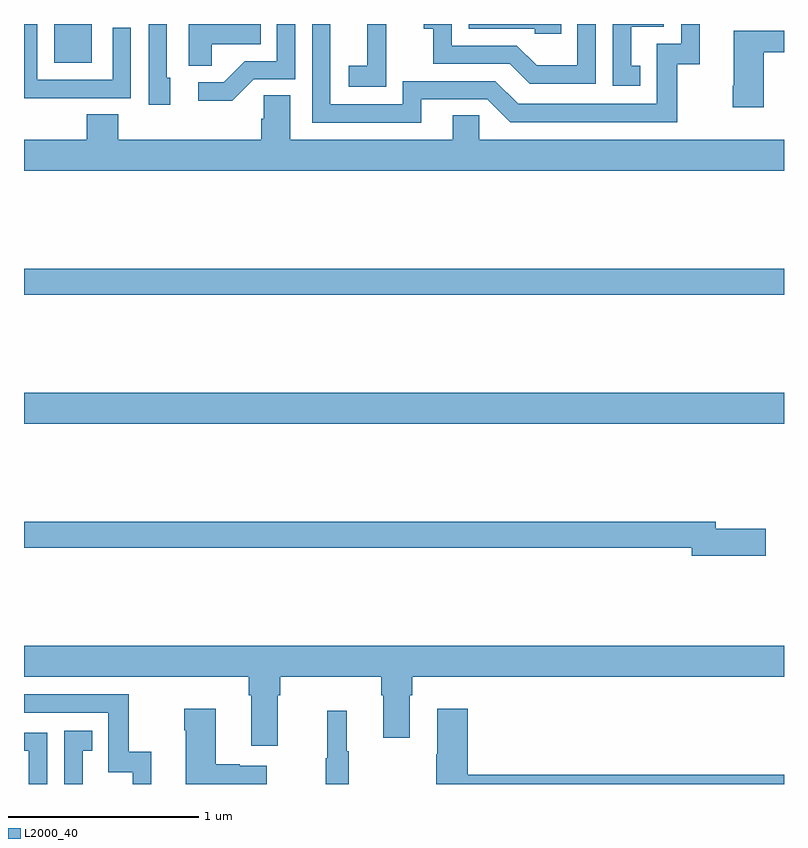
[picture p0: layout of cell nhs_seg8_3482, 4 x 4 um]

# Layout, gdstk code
import gdstk
lib = gdstk.Library(unit=1e-6, precision=1e-09)
def R(c, l, rs):  # rectangles x0, y0, x1, y1
    for r in rs: c.add(gdstk.rectangle(r[:2], r[2:], *l))
def P(c, l, *ps):  # polygons
    for p in ps: c.add(gdstk.Polygon(p, *l))
L2000_40 = (2000, 40)

nhs_seg8_3482 = lib.new_cell('nhs_seg8_3482')
R(nhs_seg8_3482, L2000_40, [(325,1153.796,329,1153.96), (325,1154.476,329,1154.612)])
P(nhs_seg8_3482, L2000_40, [(325.357,1155.9),(325.199,1155.9),(325.199,1155.898),(325.16,1155.898),(325.16,1155.695),(325.357,1155.695)],
  [(328.244,1155.681),(328.195,1155.681),(328.195,1155.885),(328.368,1155.885),(328.368,1155.9),(328.098,1155.9),(328.098,1155.576),(328.244,1155.576)],
  [(327.091,1155.504),(327.438,1155.504),(327.558,1155.384),(328.438,1155.384),(328.438,1155.687),(328.556,1155.687),(328.556,1155.9),(328.458,1155.9),(328.458,1155.795),(328.329,1155.795),(328.329,1155.48),(327.6,1155.48),(327.48,1155.6),(326.994,1155.6),(326.994,1155.477),(326.613,1155.477),(326.613,1155.9),(326.517,1155.9),(326.517,1155.381),(327.091,1155.381)],
  [(325.771,1155.618),(325.752,1155.618),(325.752,1155.9),(325.656,1155.9),(325.656,1155.474),(325.771,1155.474)],
  [(328.008,1155.9),(327.912,1155.9),(327.912,1155.682),(327.698,1155.682),(327.594,1155.786),(327.252,1155.786),(327.252,1155.9),(327.105,1155.9),(327.105,1155.875),(327.154,1155.875),(327.154,1155.69),(327.557,1155.69),(327.662,1155.585),(328.008,1155.585)],
  [(326.907,1155.775),(326.906,1155.775),(326.906,1155.9),(326.807,1155.9),(326.807,1155.679),(326.709,1155.679),(326.709,1155.569),(326.907,1155.569)],
  [(327.827,1155.9),(327.342,1155.9),(327.342,1155.876),(327.687,1155.876),(327.687,1155.849),(327.827,1155.849)],
  [(325.247,1155.51),(325.563,1155.51),(325.563,1155.88),(325.467,1155.88),(325.467,1155.606),(325.071,1155.606),(325.071,1155.9),(325,1155.9),(325,1155.509),(325.247,1155.509)],
  [(326.208,1155.609),(326.427,1155.609),(326.427,1155.9),(326.331,1155.9),(326.331,1155.705),(326.162,1155.705),(326.051,1155.594),(325.917,1155.594),(325.917,1155.497),(326.095,1155.497)],
  [(325.989,1155.794),(326.246,1155.794),(326.246,1155.898),(325.868,1155.898),(325.868,1155.679),(325.989,1155.679)],
  [(328.894,1155.751),(329,1155.751),(329,1155.865),(328.736,1155.865),(328.736,1155.574),(328.729,1155.574),(328.729,1155.462),(328.894,1155.462)],
  [(329,1155.292),(327.396,1155.292),(327.396,1155.419),(327.257,1155.419),(327.257,1155.292),(326.401,1155.292),(326.401,1155.524),(326.262,1155.524),(326.262,1155.401),(326.249,1155.401),(326.249,1155.292),(325.496,1155.292),(325.496,1155.425),(325.331,1155.425),(325.331,1155.292),(325,1155.292),(325,1155.128),(329,1155.128)],
  [(328.903,1153.244),(328.642,1153.244),(328.642,1153.28),(325,1153.28),(325,1153.144),(328.514,1153.144),(328.514,1153.102),(328.903,1153.102)],
  [(326.335,1152.368),(326.348,1152.368),(326.348,1152.464),(326.879,1152.464),(326.879,1152.368),(326.891,1152.368),(326.891,1152.144),(327.031,1152.144),(327.031,1152.368),(327.044,1152.368),(327.044,1152.464),(329,1152.464),(329,1152.628),(325,1152.628),(325,1152.464),(326.183,1152.464),(326.183,1152.368),(326.195,1152.368),(326.195,1152.102),(326.335,1152.102)],
  [(325.67,1152.07),(325.552,1152.07),(325.552,1152.372),(325,1152.372),(325,1152.276),(325.443,1152.276),(325.443,1151.961),(325.572,1151.961),(325.572,1151.9),(325.67,1151.9)],
  [(329,1151.948),(327.335,1151.948),(327.335,1152.295),(327.176,1152.295),(327.176,1152.056),(327.169,1152.056),(327.169,1151.9),(329,1151.9)],
  [(326.278,1151.995),(326.135,1151.995),(326.135,1152.005),(326.008,1152.005),(326.008,1152.295),(325.843,1152.295),(325.843,1152.182),(325.85,1152.182),(325.85,1151.9),(326.278,1151.9)],
  [(326.71,1152.073),(326.699,1152.073),(326.699,1152.286),(326.596,1152.286),(326.596,1152.036),(326.589,1152.036),(326.589,1151.9),(326.71,1151.9)],
  [(325.309,1152.075),(325.358,1152.075),(325.358,1152.181),(325.212,1152.181),(325.212,1151.9),(325.309,1151.9)],
  [(325.122,1152.171),(325,1152.171),(325,1152.074),(325.026,1152.074),(325.026,1151.9),(325.122,1151.9)])

lib.write_gds('nhs_seg8_3482.gds')
